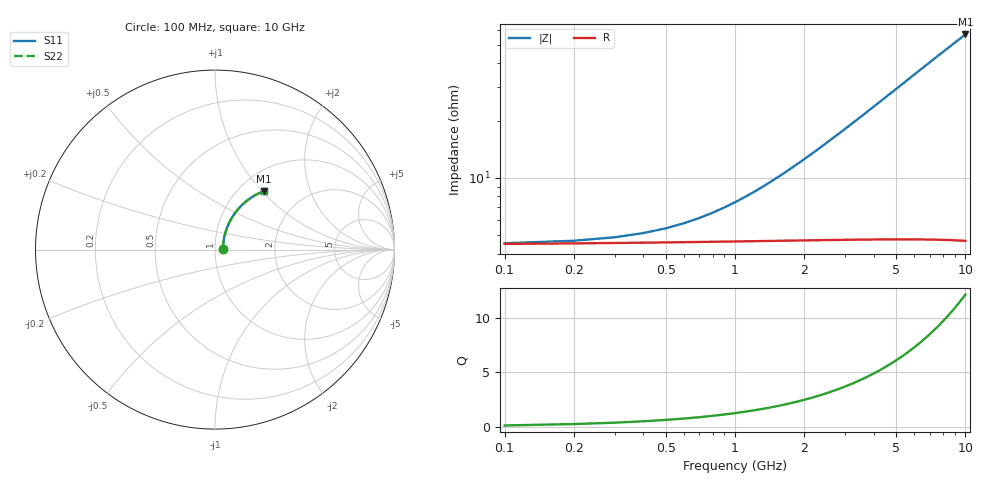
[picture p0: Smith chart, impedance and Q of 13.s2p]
# Hz S RI R 50.00
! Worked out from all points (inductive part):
!   100 points, 100 MHz to 10 GHz, reference 50 ohm
!   read as one part in series: L = 924 pH near 2.5 GHz
!   highest Q = 12.1 at 10 GHz (marker M1), where L = 901 pH
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1e8  0.043 0.00453  0.957 -0.00615  0.957 -0.00615  0.043 0.00453
2e8  0.0434 0.00905  0.9566 -0.0123  0.9566 -0.0123  0.0434 0.00905
3e8  0.0437 0.0136  0.9563 -0.0184  0.9563 -0.0184  0.0437 0.0136
5e8  0.0445 0.0226  0.9555 -0.0307  0.9555 -0.0307  0.0445 0.0226
7e8  0.0454 0.0316  0.9545 -0.0429  0.9545 -0.0429  0.0454 0.0316
1.3e9  0.0494 0.0583  0.9504 -0.0794  0.9504 -0.0794  0.0494 0.0583
1.6e9  0.0521 0.0715  0.9476 -0.0975  0.9476 -0.0975  0.0521 0.0715
1.8e9  0.0541 0.0803  0.9454 -0.1094  0.9454 -0.1094  0.0541 0.0803
2.1e9  0.0576 0.0932  0.9418 -0.1273  0.9418 -0.1273  0.0576 0.0932
2.5e9  0.063 0.1102  0.9362 -0.1507  0.9362 -0.1507  0.063 0.1102
2.9e9  0.0691 0.1268  0.9297 -0.1739  0.9297 -0.1739  0.0691 0.1268
3.4e9  0.078 0.147  0.9205 -0.2022  0.9205 -0.2022  0.078 0.147
3.8e9  0.0858 0.1627  0.9122 -0.2244  0.9122 -0.2244  0.0858 0.1627
4.2e9  0.0944 0.1778  0.9031 -0.246  0.9031 -0.246  0.0944 0.1778
4.6e9  0.1037 0.1924  0.8934 -0.2671  0.8934 -0.2671  0.1037 0.1924
5.1e9  0.1162 0.2098  0.8802 -0.2927  0.8802 -0.2927  0.1162 0.2098
5.9e9  0.1379 0.2356  0.8573 -0.3316  0.8573 -0.3316  0.1379 0.2356
6.7e9  0.1616 0.2588  0.8322 -0.3679  0.8322 -0.3679  0.1616 0.2588
7.5e9  0.1868 0.2792  0.8054 -0.4015  0.8054 -0.4015  0.1868 0.2792
8.4e9  0.2166 0.2989  0.7737 -0.4361  0.7737 -0.4361  0.2166 0.2989
9.2e9  0.2439 0.3134  0.7444 -0.4639  0.7444 -0.4639  0.2439 0.3134
1e10  0.2717 0.3252  0.7144 -0.489  0.7144 -0.489  0.2717 0.3252
